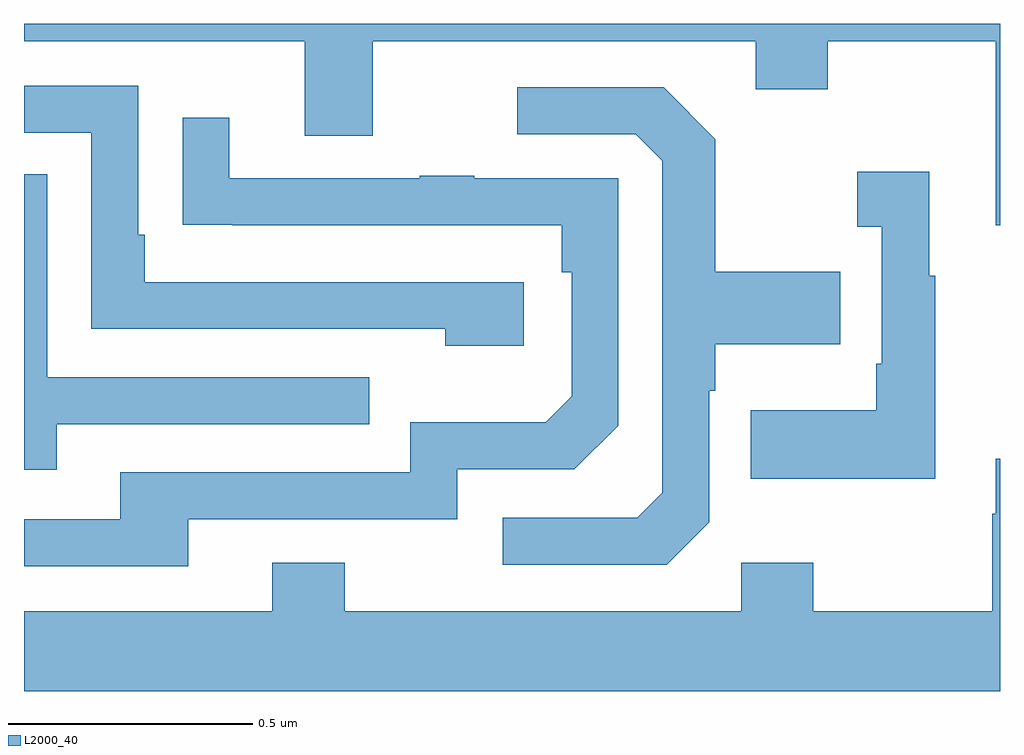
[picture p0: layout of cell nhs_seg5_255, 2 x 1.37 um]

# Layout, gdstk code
import gdstk
lib = gdstk.Library(unit=1e-6, precision=1e-09)
def P(c, l, *ps):  # polygons
    for p in ps: c.add(gdstk.Polygon(p, *l))
L2000_40 = (2000, 40)

nhs_seg5_255 = lib.new_cell('nhs_seg5_255')
P(nhs_seg5_255, L2000_40, [(116,852.799),(114,852.799),(114,852.764),(114.575,852.764),(114.575,852.57),(114.715,852.57),(114.715,852.764),(115.499,852.764),(115.499,852.665),(115.647,852.665),(115.647,852.764),(115.991,852.764),(115.991,852.387),(116,852.387)],
  [(115.024,852.27),(114.247,852.27),(114.247,852.367),(114.234,852.367),(114.234,852.672),(114,852.672),(114,852.576),(114.138,852.576),(114.138,852.174),(114.863,852.174),(114.863,852.14),(115.024,852.14)],
  [(115.404,851.778),(115.404,852.047),(115.417,852.047),(115.417,852.143),(115.673,852.143),(115.673,852.291),(115.417,852.291),(115.417,852.563),(115.311,852.669),(115.011,852.669),(115.011,852.573),(115.254,852.573),(115.308,852.519),(115.308,851.838),(115.257,851.787),(114.981,851.787),(114.981,851.691),(115.317,851.691)],
  [(114.337,851.784),(114.888,851.784),(114.888,851.886),(115.128,851.886),(115.218,851.976),(115.218,852.483),(114.923,852.483),(114.923,852.488),(114.811,852.488),(114.811,852.483),(114.421,852.483),(114.421,852.607),(114.325,852.607),(114.325,852.388),(114.427,852.388),(114.427,852.387),(115.102,852.387),(115.102,852.29),(115.122,852.29),(115.122,852.036),(115.069,851.983),(114.792,851.983),(114.792,851.88),(114.197,851.88),(114.197,851.784),(114,851.784),(114,851.688),(114.337,851.688)],
  [(115.867,852.283),(115.855,852.283),(115.855,852.496),(115.707,852.496),(115.707,852.383),(115.758,852.383),(115.758,852.103),(115.746,852.103),(115.746,852.007),(115.489,852.007),(115.489,851.867),(115.867,851.867)],
  [(114.067,851.979),(114.707,851.979),(114.707,852.075),(114.048,852.075),(114.048,852.491),(114,852.491),(114,851.885),(114.067,851.885)],
  [(116,851.908),(115.991,851.908),(115.991,851.795),(115.984,851.795),(115.984,851.596),(115.617,851.596),(115.617,851.695),(115.47,851.695),(115.47,851.596),(114.657,851.596),(114.657,851.695),(114.509,851.695),(114.509,851.596),(114,851.596),(114,851.432),(116,851.432)])

lib.write_gds('nhs_seg5_255.gds')
